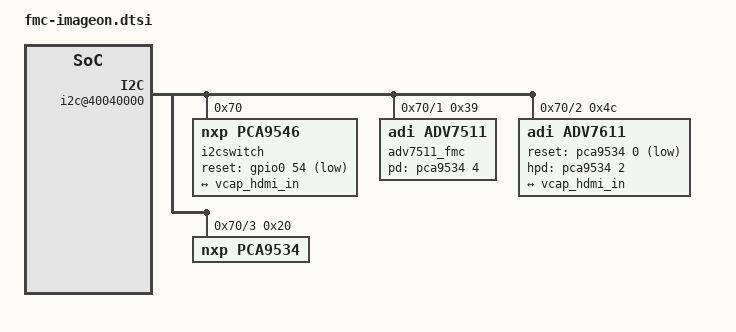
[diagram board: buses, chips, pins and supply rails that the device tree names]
/*
 *  Copyright (C) 2011 - 2014 Xilinx
 *
 * This software is licensed under the terms of the GNU General Public
 * License version 2, as published by the Free Software Foundation, and
 * may be copied, distributed, and modified under those terms.
 *
 * This program is distributed in the hope that it will be useful,
 * but WITHOUT ANY WARRANTY; without even the implied warranty of
 * MERCHANTABILITY or FITNESS FOR A PARTICULAR PURPOSE.  See the
 * GNU General Public License for more details.
 */

&amba {
	i2c@40040000 {
		compatible = "xlnx,xps-iic-2.00.a";
		interrupt-parent = <&intc>;
		interrupts = <0 30 4>;
		reg = <0x40040000 0x10000>;
		#address-cells = <1>;
		#size-cells = <0>;
	
		i2cswitch@70 {
			compatible = "nxp,pca9546";
			#address-cells = <1>;
			#size-cells = <0>;
			reg = <0x70>;
	
			reset-gpios = <&gpio0 54 1>;

			i2c@1 {
				#address-cells = <1>;
				#size-cells = <0>;
				reg = <1>;
				adv7511_fmc: hdmi-tx@39 {
					compatible = "adi,adv7511";
					reg = <0x39>;

					pd-gpios = <&pca9534 4 0>;

					adi,input-depth = <8>;
					adi,input-colorspace = "yuv422";
					adi,input-clock = "1x";
					adi,input-style = <3>;
					adi,input-justification = "left";
					adi,embedded-sync;
					adi,clock-delay = <800>;
				};
			};

			i2c@2 {
				#address-cells = <1>;
				#size-cells = <0>;
				reg = <2>;
				adv7611: hdmi-rx@4c {
					compatible = "adi,adv7611";
					reg = <0x4c>;
	
					reset-gpios = <&pca9534 0 1>;
					hpd-gpios = <&pca9534 2 0>;
	
					#address-cells = <1>;
					#size-cells = <0>;
	
					port@0 {
						reg = <0>;
					};
					port@1 {
						reg = <1>;
						adv7611_out: endpoint {
							remote-endpoint = <&vcap_hdmi_in>;
						};
					};
				};
			};

			i2c@3 {
				#address-cells = <1>;
				#size-cells = <0>;
				reg = <3>;
	
				pca9534: gpio@20 {
					compatible = "nxp,pca9534";
					reg = <0x20>;
					gpio-controller;
					#gpio-cells = <2>;
				};
			};
		};
	};
};
